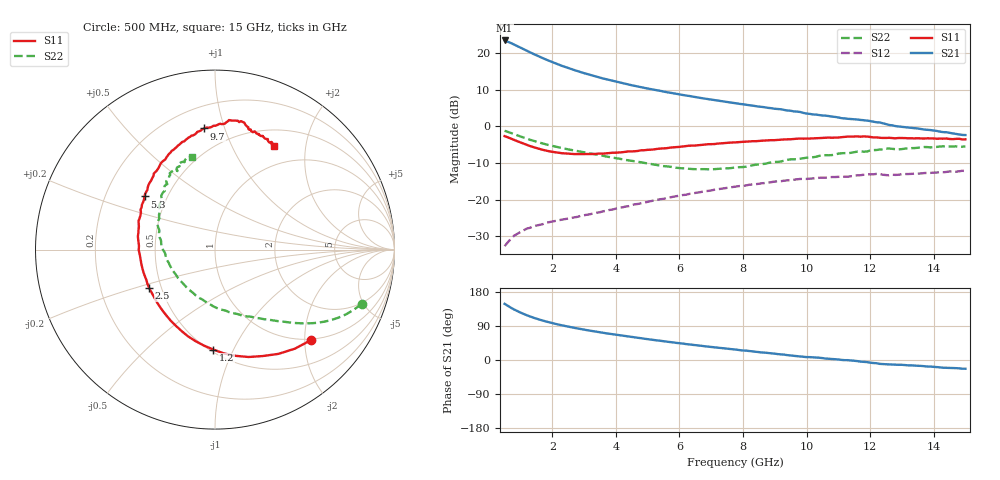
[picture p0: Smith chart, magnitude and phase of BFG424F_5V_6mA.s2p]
! Filename BFG424F_5V_6mA.prm
! Simulation_Values
! Created	by	janssen	on	nov	2006
!	Column ranking S11, S21,S12,S22 both magnitude and phase.
!	VCE	=	5	V,	IC	=	6	mA
!	Common	Emitter	S-Parameters
#	GHZ	S	MA	R	50
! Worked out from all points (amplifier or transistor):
!   146 points, 500 MHz to 15 GHz, reference 50 ohm
!   highest |S21| = 23.5 dB at 500 MHz (marker M1)
!   |S21| within 3 dB of that: start of sweep to 1.241 GHz
!   unconditionally stable (mu >= 1): 3.009 GHz to end of sweep
!   at 2.9 GHz: K = 0.97, MSG = 19.6 dB, |S12| = -24.4 dB
!   at 7.8 GHz: K = 1.21, MAG = 8.6 dB, |S12| = -16.4 dB
!   at 15 GHz: K = 1.51, MAG = 0.7 dB, |S12| = -12.2 dB
!   S11 on the Smith chart (normalised r, x): 500 MHz: 0.98, -2.14; 1.2 GHz: 0.52, -0.84; 2.5 GHz: 0.43, -0.23; 5.3 GHz: 0.37, +0.29; 9.7 GHz: 0.34, +0.85; 15 GHz: 0.71, +1.47
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0.5  0.735 -43.3  14.97 148.3  0.023 63.1  0.871 -20.3
0.6  0.709 -51.1  14.39 142.9  0.026 60.5  0.842 -23.5
0.7  0.68 -58.7  13.79 137.9  0.029 58.8  0.813 -26.4
0.8  0.65 -65.8  13.16 133.2  0.032 56.8  0.784 -29.0
1  0.603 -79.0  11.93 125.1  0.036 53.8  0.728 -33.5
1.2  0.557 -91.0  10.8 118.1  0.04 51.6  0.679 -37.1
1.4  0.521 -102.1  9.822 111.9  0.043 50.3  0.636 -40.2
1.5  0.506 -107.3  9.389 109.1  0.044 49.7  0.618 -41.5
1.8  0.467 -121.8  8.217 101.7  0.048 49.2  0.568 -45.3
2.1  0.442 -134.3  7.284 95.4  0.051 49.5  0.529 -48.8
2.5  0.425 -149.6  6.282 88.1  0.055 50.8  0.485 -53.4
3  0.418 -165.8  5.348 80.2  0.061 52.4  0.441 -59.3
3.4  0.422 -177.4  4.767 74.5  0.066 53.7  0.411 -64.8
4  0.437 167.8  4.094 66.7  0.075 55.7  0.368 -74.1
5.3  0.492 142.9  3.113 51.7  0.099 56.7  0.295 -100.2
5.4  0.497 141.6  3.061 50.6  0.101 56.5  0.29 -102.5
6.8  0.566 122.4  2.398 36.2  0.13 53.8  0.26 -142.0
7.8  0.606 111.6  2.066 27.2  0.151 50.5  0.275 -169.0
9.7  0.678 95.2  1.593 10.2  0.189 41.8  0.355 150.9
10.2  0.685 91.4  1.457 7.1  0.194 39.0  0.378 144.0
12.6  0.698 73.4  1.046 -11.6  0.214 27.5  0.498 117.9
15  0.665 60.4  0.761 -23.0  0.245 18.9  0.532 103.8
